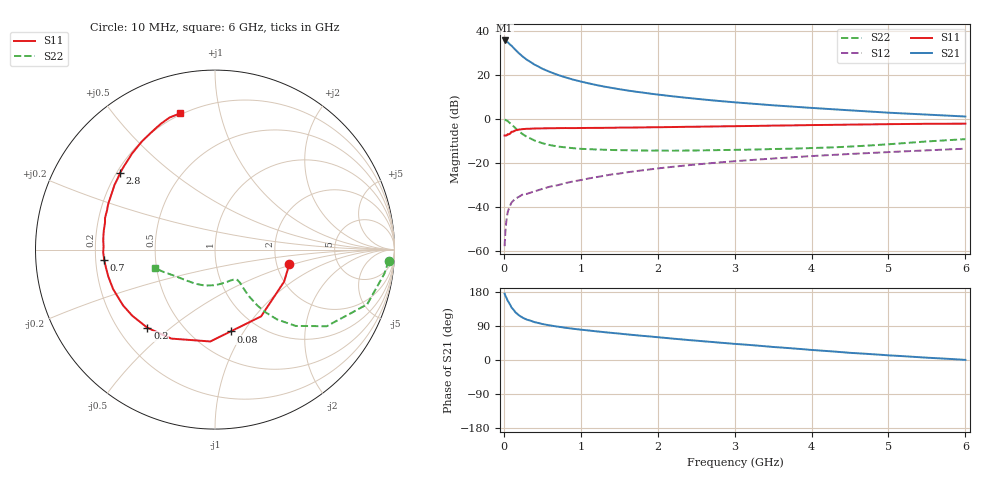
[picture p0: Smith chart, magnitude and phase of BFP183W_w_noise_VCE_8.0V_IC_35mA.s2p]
! (c) 2017  Infineon Technologies AG, Munich
! Infineon Technologies  Discrete & RF Semiconductors
! BFP183W
! VCE =  8.0 V,  IC =  35 mA
! Common Emitter S-Parameters:  Jan 2017
# GHz  S  MA  R  50
!  f  S11  S21  S12  S22
! GHz  MAG  ANG  MAG  ANG  MAG  ANG  MAG  ANG
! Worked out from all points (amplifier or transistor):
!   77 points, 10 MHz to 6 GHz, reference 50 ohm
!   highest |S21| = 35.6 dB at 10 MHz (marker M1)
!   |S21| within 3 dB of that: start of sweep to 116.4 MHz
!   unconditionally stable (mu >= 1): 905.5 MHz to 3.385 GHz
!   at 130 MHz: K = 0.31, MSG = 34.5 dB, |S12| = -36.8 dB
!   at 2.2 GHz: K = 1.06, MAG = 14.5 dB, |S12| = -21.7 dB
!   at 6 GHz: K = 0.86, MSG = 7.3 dB, |S12| = -13.5 dB
!   lowest NFmin = 1.51 dB at 450 MHz
!   S11 on the Smith chart (normalised r, x): 10 MHz: 2.36, -0.45; 80 MHz: 0.75, -0.88; 200 MHz: 0.32, -0.42; 700 MHz: 0.24, -0.04; 2.8 GHz: 0.21, +0.34; 6 GHz: 0.19, +0.76
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0.01  0.4222 -10.7  60.54 175.1  0.0013 100.6  0.9689 -3.7
0.02  0.4245 -24.9  59.76 169.8  0.0027 85.0  0.9536 -8.0
0.05  0.4521 -55.4  55.35 156.5  0.0077 70.8  0.901 -19.8
0.08  0.4642 -79.2  49.06 146.5  0.0107 64.4  0.8064 -28.0
0.1  0.5125 -92.9  45.88 138.4  0.0127 61.8  0.7544 -34.5
0.15  0.5522 -116.1  37.26 126.1  0.0156 52.9  0.6191 -43.4
0.2  0.5757 -130.8  30.58 117.4  0.0173 51.1  0.5201 -48.4
0.25  0.5901 -141.3  25.72 111.1  0.0197 48.2  0.4468 -51.2
0.3  0.5992 -148.7  22.03 106.5  0.02 49.1  0.3927 -52.8
0.4  0.6087 -158.7  17.08 99.8  0.0228 50.8  0.3238 -53.9
0.5  0.6131 -165.6  13.85 95.0  0.0259 52.8  0.2826 -53.8
0.6  0.6162 -170.9  11.66 91.2  0.0292 55.1  0.2558 -53.5
0.7  0.6199 -174.8  10.03 88.1  0.0314 57.6  0.2377 -53.0
0.9  0.6212 178.3  7.83 82.5  0.0382 60.2  0.2177 -53.3
1.1  0.6266 172.9  6.447 78.0  0.0446 61.6  0.2072 -54.1
1.5  0.6373 164.0  4.744 69.7  0.0577 63.2  0.1962 -58.4
2.1  0.6532 152.4  3.422 58.3  0.0789 62.3  0.1914 -70.1
2.8  0.68 141.0  2.562 45.9  0.1033 59.6  0.1971 -88.0
3.1  0.6901 136.4  2.317 41.1  0.1133 57.7  0.2003 -96.1
4.1  0.7304 122.8  1.74 25.1  0.1473 52.0  0.2216 -122.8
5.1  0.7662 112.3  1.362 11.2  0.1805 45.7  0.2748 -148.7
6  0.7835 104.4  1.138 0.3  0.2118 39.5  0.3488 -162.5
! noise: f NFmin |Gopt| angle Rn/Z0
0.45  1.51  0.29  -177  0.1
0.9  1.56  0.32  -176  0.1
1.9  2.05  0.47  -154  0.11
2.4  2.31  0.51  -151  0.16
